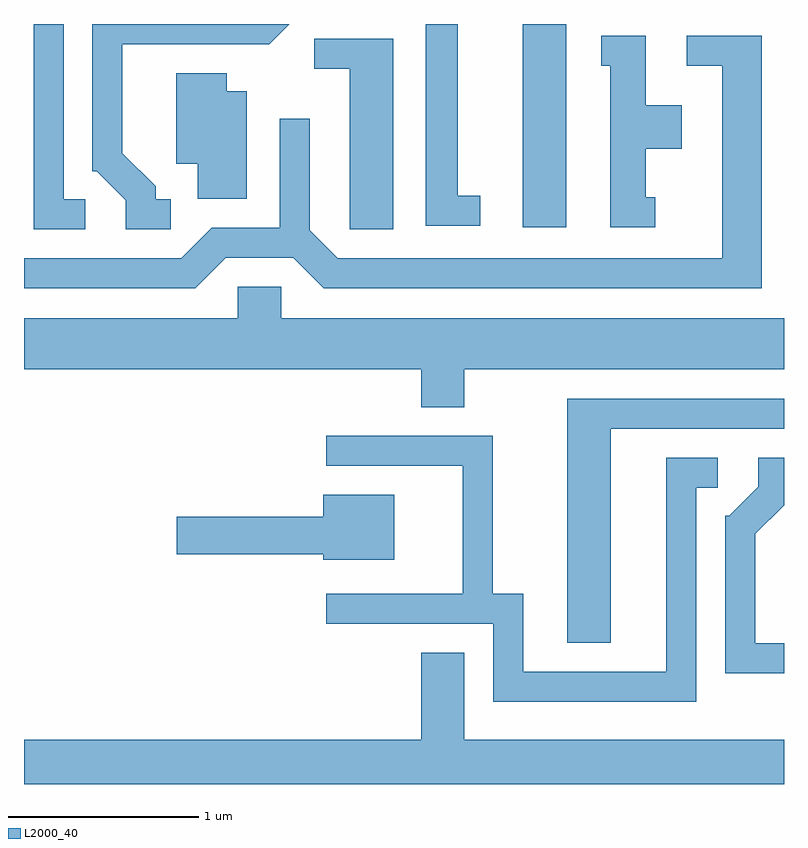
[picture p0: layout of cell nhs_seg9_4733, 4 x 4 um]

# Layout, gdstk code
import gdstk
lib = gdstk.Library(unit=1e-6, precision=1e-09)
def R(c, l, rs):  # rectangles x0, y0, x1, y1
    for r in rs: c.add(gdstk.rectangle(r[:2], r[2:], *l))
def P(c, l, *ps):  # polygons
    for p in ps: c.add(gdstk.Polygon(p, *l))
L2000_40 = (2000, 40)

nhs_seg9_4733 = lib.new_cell('nhs_seg9_4733')
R(nhs_seg9_4733, L2000_40, [(326.236,2081.361,326.464,2082.432)])
P(nhs_seg9_4733, L2000_40, [(326.013,2081.529),(325.894,2081.529),(325.894,2082.432),(325.726,2082.432),(325.726,2081.371),(326.013,2081.371)],
  [(324.383,2081.509),(324.304,2081.509),(324.304,2081.577),(324.129,2081.751),(324.129,2082.326),(324.902,2082.326),(325.008,2082.432),(323.971,2082.432),(323.971,2081.656),(323.994,2081.656),(324.146,2081.504),(324.146,2081.351),(324.383,2081.351)],
  [(323.933,2081.509),(323.819,2081.509),(323.819,2082.432),(323.661,2082.432),(323.661,2081.351),(323.933,2081.351)],
  [(326.933,2081.519),(326.884,2081.519),(326.884,2081.776),(327.074,2081.776),(327.074,2082.004),(326.884,2082.004),(326.884,2082.369),(326.648,2082.369),(326.648,2082.211),(326.696,2082.211),(326.696,2081.361),(326.933,2081.361)],
  [(324.672,2081.201),(325.029,2081.201),(325.189,2081.041),(327.494,2081.041),(327.494,2082.369),(327.098,2082.369),(327.098,2082.211),(327.286,2082.211),(327.286,2081.199),(325.262,2081.199),(325.114,2081.347),(325.114,2081.933),(324.956,2081.933),(324.956,2081.359),(324.599,2081.359),(324.439,2081.199),(323.611,2081.199),(323.611,2081.041),(324.512,2081.041)],
  [(325.554,2082.354),(325.138,2082.354),(325.138,2082.196),(325.326,2082.196),(325.326,2081.351),(325.554,2081.351)],
  [(324.784,2082.079),(324.679,2082.079),(324.679,2082.174),(324.411,2082.174),(324.411,2081.696),(324.526,2081.696),(324.526,2081.511),(324.784,2081.511)],
  [(325.929,2080.616),(327.611,2080.616),(327.611,2080.884),(324.964,2080.884),(324.964,2081.049),(324.736,2081.049),(324.736,2080.884),(323.611,2080.884),(323.611,2080.616),(325.701,2080.616),(325.701,2080.416),(325.929,2080.416)],
  [(326.699,2080.301),(327.611,2080.301),(327.611,2080.459),(326.471,2080.459),(326.471,2079.176),(326.699,2079.176)],
  [(327.149,2079.991),(327.263,2079.991),(327.263,2080.149),(326.991,2080.149),(326.991,2079.024),(326.239,2079.024),(326.239,2079.434),(326.079,2079.434),(326.079,2080.264),(325.203,2080.264),(325.203,2080.106),(325.921,2080.106),(325.921,2079.434),(325.203,2079.434),(325.203,2079.276),(326.081,2079.276),(326.081,2078.866),(327.149,2078.866)],
  [(327.611,2079.174),(327.459,2079.174),(327.459,2079.749),(327.611,2079.9),(327.611,2080.149),(327.476,2080.149),(327.476,2079.997),(327.324,2079.844),(327.301,2079.844),(327.301,2079.016),(327.611,2079.016)],
  [(325.559,2079.954),(325.186,2079.954),(325.186,2079.839),(324.416,2079.839),(324.416,2079.641),(325.186,2079.641),(325.186,2079.611),(325.559,2079.611)],
  [(327.611,2078.664),(325.929,2078.664),(325.929,2079.124),(325.701,2079.124),(325.701,2078.664),(323.611,2078.664),(323.611,2078.432),(327.611,2078.432)])

lib.write_gds('nhs_seg9_4733.gds')
